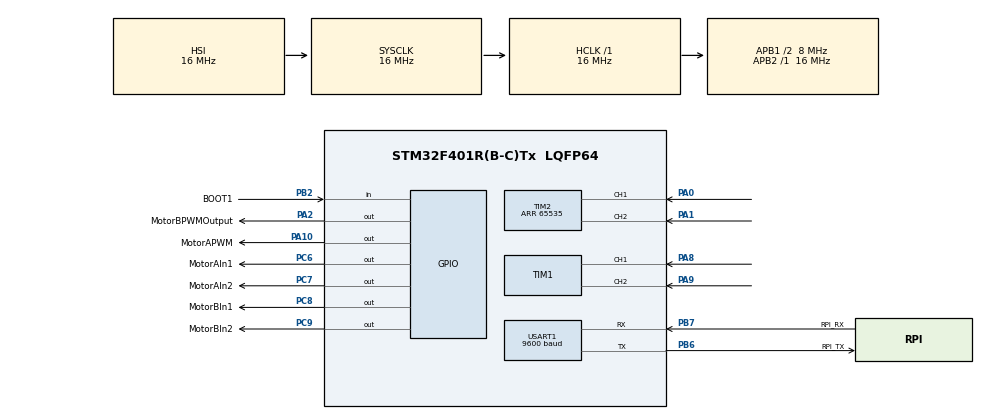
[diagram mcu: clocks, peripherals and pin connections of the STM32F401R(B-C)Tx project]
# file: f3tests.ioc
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Mcu.Family=STM32F4
Mcu.Name=STM32F401R(B-C)Tx
Mcu.Package=LQFP64
Mcu.UserConstants=ENCODER_MAX,65535/2;driverSpeed,100;SAMPLE_PERIOD,100000
NVIC.PriorityGroup=NVIC_PRIORITYGROUP_4
NVIC.TIM1_BRK_TIM9_IRQn=true\:0\:0\:false\:false\:true\:true\:true\:true
NVIC.TIM1_CC_IRQn=true\:0\:0\:false\:false\:true\:true\:true\:true
NVIC.TIM1_TRG_COM_TIM11_IRQn=true\:0\:0\:false\:false\:true\:true\:true\:true
NVIC.TIM1_UP_TIM10_IRQn=true\:0\:0\:false\:false\:true\:true\:true\:true
NVIC.TIM2_IRQn=true\:0\:0\:false\:false\:true\:true\:true\:true
NVIC.TIM3_IRQn=true\:0\:0\:false\:false\:true\:true\:true\:true
NVIC.TIM4_IRQn=true\:0\:0\:false\:false\:true\:true\:true\:true
NVIC.TIM5_IRQn=true\:0\:0\:false\:false\:true\:true\:true\:true
PA0-WKUP.GPIO_PuPd=GPIO_PULLUP
PA0-WKUP.Signal=S_TIM2_CH1_ETR
PA1.GPIO_PuPd=GPIO_PULLUP
PA1.Signal=S_TIM2_CH2
PA10.GPIO_Label=MotorAPWM
PA10.GPIO_PuPd=GPIO_PULLUP
PA10.Signal=GPIO_Output
PA13.Mode=Trace_Asynchronous_SW
PA13.Signal=SYS_JTMS-SWDIO
PA14.Mode=Trace_Asynchronous_SW
PA14.Signal=SYS_JTCK-SWCLK
PA2.GPIO_Label=MotorBPWMOutput
PA2.GPIO_ModeDefaultOutputPP=GPIO_MODE_OUTPUT_PP
PA2.GPIO_PuPd=GPIO_PULLUP
PA2.GPIO_Speed=GPIO_SPEED_FREQ_LOW
PA2.Signal=GPIO_Output
PA8.GPIO_PuPd=GPIO_PULLUP
PA8.Signal=S_TIM1_CH1
PA9.GPIO_PuPd=GPIO_PULLUP
PA9.Signal=S_TIM1_CH2
PB15.Signal=TIM1_CH3N
PB2.GPIO_Label=BOOT1
PB2.Signal=GPIO_Input
PB3.Mode=Trace_Asynchronous_SW
PB3.Signal=SYS_JTDO-SWO
PB6.GPIO_Label=RPI_TX
PB6.Mode=Asynchronous
PB6.Signal=USART1_TX
PB7.GPIO_Label=RPI_RX
PB7.Mode=Asynchronous
PB7.Signal=USART1_RX
PC6.GPIO_Label=MotorAIn1
PC6.Signal=GPIO_Output
PC7.GPIO_Label=MotorAIn2
PC7.Signal=GPIO_Output
PC8.GPIO_Label=MotorBIn1
PC8.Signal=GPIO_Output
PC9.GPIO_Label=MotorBIn2
PC9.Signal=GPIO_Output
PH0\ -\ OSC_IN.Mode=HSE-External-Oscillator
PH0\ -\ OSC_IN.Signal=RCC_OSC_IN
PH1\ -\ OSC_OUT.Mode=HSE-External-Oscillator
PH1\ -\ OSC_OUT.Signal=RCC_OSC_OUT
ProjectManager.HeapSize=0x200
ProjectManager.StackSize=0x400
ProjectManager.TargetToolchain=STM32CubeIDE
RCC.48MHZClocksFreq_Value=42000000
RCC.AHBFreq_Value=16000000
RCC.APB1CLKDivider=RCC_HCLK_DIV2
RCC.APB1Freq_Value=8000000
RCC.APB1TimFreq_Value=16000000
RCC.APB2Freq_Value=16000000
RCC.APB2TimFreq_Value=16000000
RCC.CortexFreq_Value=16000000
RCC.HCLKFreq_Value=16000000
RCC.HSE_VALUE=25000000
RCC.HSI_VALUE=16000000
RCC.LSE_VALUE=32768
RCC.PLLM=8
RCC.PLLN=84
RCC.SYSCLKFreq_VALUE=16000000
RCC.VCOOutputFreq_Value=168000000
SH.S_TIM1_CH1.0=TIM1_CH1,Encoder_Interface
SH.S_TIM1_CH2.0=TIM1_CH2,Encoder_Interface
SH.S_TIM2_CH1_ETR.0=TIM2_CH1,Encoder_Interface
SH.S_TIM2_CH2.0=TIM2_CH2,Encoder_Interface
TIM1.EncoderMode=TIM_ENCODERMODE_TI12
TIM1.IC1Filter=10
TIM1.IC2Filter=10
TIM2.EncoderMode=TIM_ENCODERMODE_TI12
TIM2.IC1Filter=10
TIM2.IC2Filter=10
TIM2.Period=65535
TIM3.Period=driverSpeed -1
TIM3.Prescaler=16-1
TIM4.Period=driverSpeed -1
TIM4.Prescaler=16-1
TIM5.Period=SAMPLE_PERIOD-1
TIM5.Prescaler=16-1
USART1.BaudRate=9600
USART1.VirtualMode=VM_ASYNC
VP_TIM3_VS_ClockSourceINT.Mode=Internal
VP_TIM4_VS_ClockSourceINT.Mode=Internal
VP_TIM5_VS_ClockSourceINT.Mode=Internal
board=custom

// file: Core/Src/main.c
/* USER CODE BEGIN Header */
/**
 ******************************************************************************
 * @file           : main.c
 * @brief          : Main program body
 ******************************************************************************
 * @attention
 *
 * Copyright (c) 2023 STMicroelectronics.
 * All rights reserved.
 *
 * This software is licensed under terms that can be found in the LICENSE file
 * in the root directory of this software component.
 * If no LICENSE file comes with this software, it is provided AS-IS.
 *
 ******************************************************************************
 */
/* USER CODE END Header */
#include "main.h"

/* USER CODE BEGIN Includes */
#include "motorDriver.h"
#include "virtualTimer.h"
#include "serial.h"
#include "test.h"
#include "encoder.h"
#include "math.h"
/* USER CODE END Includes */

/* USER CODE BEGIN PD */
#define baseDutyCycle  0.5
#define TESTING 1
#define ACTUAL_ROBOT 0
/* USER CODE END PD */

TIM_HandleTypeDef htim1;
TIM_HandleTypeDef htim2;
TIM_HandleTypeDef htim3;
TIM_HandleTypeDef htim4;
TIM_HandleTypeDef htim5;

UART_HandleTypeDef huart1;

/* USER CODE BEGIN PV */
VirtualTimer MotorATimer;
VirtualTimer MotorBTimer;
Encoder EncoderA;
Encoder EncoderB;
MotorDriver MD;
RPIClient pi;
int encoderValue;
int direction;
double EncoderA_Kp =0.01; //0.01; // 0.01 0.25
double EncoderA_Ki =1.5;//1.5
double EncoderA_Kd = 0.1; //0.1
int timeoutCounter = 0;
int ret = 0;
#define TIMEOUT_COUNTER_LIMIT (int)(1000.0 / UART_TIMEOUT)
/* USER CODE END PV */

void SystemClock_Config(void);
static void MX_GPIO_Init(void);
static void MX_USART1_UART_Init(void);
static void MX_TIM3_Init(void);
static void MX_TIM4_Init(void);
static void MX_TIM5_Init(void);
static void MX_TIM2_Init(void);
static void MX_TIM1_Init(void);

int main(void)
{

  /* MCU Configuration--------------------------------------------------------*/

  /* Reset of all peripherals, Initializes the Flash interface and the Systick. */
  HAL_Init();

  /* Configure the system clock */
  SystemClock_Config();

  /* Initialize all configured peripherals */
  MX_GPIO_Init();
  MX_USART1_UART_Init();
  MX_TIM3_Init();
  MX_TIM4_Init();
  MX_TIM5_Init();
  MX_TIM2_Init();
  MX_TIM1_Init();
  /* USER CODE BEGIN 2 */
//  HAL_TIM_Encoder_Start(&htim1, TIM_CHANNEL_ALL);
	  PIDPON_TypeDef POn = _PID_P_ON_E;
	  PIDCD_TypeDef ControllerDirection = _PID_CD_DIRECT;
	PID_TypeDef EncoderA_PID;
	double EncoderA_Out =0;
	double EncoderA_In =0;
	double EncoderA_SS=0;
	PID_Params EncoderA_PID_Params = {
    .uPID = &EncoderA_PID,
	  .Kp = EncoderA_Kp,
	  .Ki = EncoderA_Ki,
	  .Kd = EncoderA_Kd,
	  .POn = POn,
	  .ControllerDirection = ControllerDirection,
	  .Input = &EncoderA_In,
	  .Output = &EncoderA_Out,
	  .Setpoint = &EncoderA_SS
  };
	double EncoderB_Out =0;
	double EncoderB_In =0;
	double EncoderB_SS=0;
	PID_TypeDef EncoderB_PID;
	PID_Params EncoderB_PID_Params = {
    .uPID = &EncoderB_PID,
	  .Kp = EncoderA_Kp,
	  .Ki = EncoderA_Ki,
	  .Kd = EncoderA_Kd,
	  .POn = POn,
	  .ControllerDirection = ControllerDirection,
	  .Input = &EncoderB_In,
	  .Output = &EncoderB_Out,
	  .Setpoint = &EncoderB_SS
  };
	initEncoder(&EncoderA, &htim5, &htim2,EncoderA_PID_Params);
	initEncoder(&EncoderB, &htim5, &htim1, EncoderB_PID_Params);
	initVirtualTimer(&MotorATimer, driverSpeed, baseDutyCycle,
	MotorAPWM_GPIO_Port, MotorAPWM_Pin, &htim3);
	initVirtualTimer(&MotorBTimer, driverSpeed, baseDutyCycle,
	MotorBPWMOutput_GPIO_Port, MotorBPWMOutput_Pin, &htim4);
	__disable_irq();
	HAL_TIM_Encoder_Start_IT(EncoderA.encoderInputTimer, TIM_CHANNEL_ALL);
	HAL_TIM_Encoder_Start_IT(EncoderB.encoderInputTimer,TIM_CHANNEL_ALL);
	HAL_TIM_Base_Start_IT(EncoderB.INT_Timer);
	start_IT(&MotorATimer);
	start_IT(&MotorBTimer);
	__enable_irq();

	setOverallSpeed(&MD, 0);
	double xdist = 0;
	double ydist = 0;
	double xout = 0;
	double yout = 0;
	double steadyStateY = 90;
	double steadyStateX = 0;
	double V_l, V_r;
	PID_TypeDef xctrl;
	PID_TypeDef yctrl;
	MD.encA =&EncoderA;
	MD.encB =&EncoderB;
	MotorDriverInit(&MD, &xdist, &ydist, &xout, &yout, &steadyStateX,
			&steadyStateY, &xctrl, &yctrl, &MotorATimer, &MotorBTimer);

	fastStop(&MD);
	char buffer[RPI_BUFFER_SIZE];
	RPIPacket packet;
	UARTClient piUART;
	piUART.port = &huart1;
	RPIClientInit(&pi, buffer, &packet, &piUART);
	int PIDUpdateRet = 0;
//    TIM1->CCR1 = (int) (driverSpeed / dutyCycle);
//	TIM2->CCR1 = (int) (driverSpeed / dutyCycle);

  /* USER CODE END 2 */

  /* Infinite loop */
  /* USER CODE BEGIN WHILE */
//	while(1){};
	if (ACTUAL_ROBOT && TESTING) {
		HAL_Delay(10000);
	}
//	fastStop(&MD);
//	takeOff(&MD);
	if (TESTING) {
//		Echo_TEST(&pi);
//		TEST_BASIC_FOLLOW(&MD, &pi);
//		PRINT_TEST(&pi);
		//		Echo_TEST(&pi);
		//		Parser_TEST(&pi);
//		DATA_TEST(&pi);
//		setOverallSpeed(&MD, 75);
//		Acceleration_TEST(&MD);
//		setOverallSpeed(&MD,50);
		*MD.encA->desiredSpeed =50;
		*MD.encB->desiredSpeed =50;
		goForward(&MD);
//		while(1){};
		while(1){
//			*MD.enc->desiredSpeed =100;
			setOverallSpeed(&MD, 50);
//			gradualSetIndividualSpeedRPM(MD.vtA, *MD.encA->motorSpeed);
//			gradualSetIndividualSpeedRPM(MD.vtB, *MD.encB->motorSpeed);

		}

	}

	double x = 0;
	double y = 0;

	Velocity v;
	int FIRST_MEAS = 0;

	while (1) {
    /* USER CODE END WHILE */

    /* USER CODE BEGIN 3 */
//		encoderValue =  __HAL_TIM_GET_COUNTER(&htim2) >>1;
		// MAIN CODE
//		__disable_irq();
		ret = recieveData(&pi);
//		__enable_irq();
		switch (ret) {
		case HAL_ERROR:
			fastStop(&MD);
			continue;
			break;
		case HAL_TIMEOUT:
			if(!FIRST_MEAS){
				continue;
			}
			UARTPrintf(pi.uart, "ACK: MCU: Are you alive? \n\r");
//			if(FIRST_MEAS){
//				*MD.encA->desiredSpeed -= *MD.encA->desiredSpeed ==0? 0: 10;
//				*MD.encB->desiredSpeed -=*MD.encB->desiredSpeed ==0? 0: 10;
//				gradualSetIndividualSpeedRPM(MD.vtA, *MD.encA->motorSpeed);
//				gradualSetIndividualSpeedRPM(MD.vtB, *MD.encB->motorSpeed);
//			}
			if(timeoutCounter > TIMEOUT_COUNTER_LIMIT){
				fastStop(&MD);
//				timeoutCounter=0;
			}
			timeoutCounter++;
			HAL_Delay(100*timeoutCounter);
			continue;
			break;
		case HAL_OK:
			FIRST_MEAS = 1;
			break;
		}
		goForward(&MD);
//		__disable_irq();
		timeoutCounter=0;
//		xdist = pi.mostRecentPacket->xdistance;
		xdist =0;
		ydist = pi.mostRecentPacket->ydistance;
		if(ydist <70 || ydist>110){
			__enable_irq();
			UARTPrintf(pi.uart, "ACK: PID too close \n\r");

			continue;
		}
		PIDUpdateRet = motorDriverUpdate(&MD);
		if(!PIDUpdateRet){
			__enable_irq();
			UARTPrintf(pi.uart, "ACK: PID error \n\r");
			continue;
		}
//		V_l = *MD.ycontOut / (1 + *MD.xcontOut);
//		V_r =  *MD.xcontOut * V_l;
		__disable_irq();
		x = 0;//*MD.xcontOut;
		y = *MD.ycontOut *-1;
		v = calculateMotorVelocities(x, y);

//		if(y>0){
//			goBackwards(&MD);
//		}else{
//			goForward(&MD);
//		}
		*MD.encA->desiredSpeed =v.V_left; //< 0? -v.V_left : v.V_left ;
		*MD.encB->desiredSpeed =v.V_right; //<0? -v.V_right: v.V_right;

		gradualSetIndividualSpeedRPM(MD.vtA, *MD.encA->motorSpeed);
		gradualSetIndividualSpeedRPM(MD.vtB, *MD.encB->motorSpeed);
		__enable_irq();
		UARTPrintf(pi.uart, "DATA:%d (%d,%d,%d,%d) \n\r",
				PIDUpdateRet,
				(int) (*MD.xcontOut),
				(int) (*MD.ycontOut),
				(int)(*MD.encA->realSpeed),
				(int)(*MD.encB->realSpeed)
				);
//		direction =__HAL_TIM_IS_TIM_COUNTING_DOWN(EncoderA.encoderInputTimer);
		//...
//		HAL_Delay(25); //every 0.05 seconds 1 frame

	}
  /* USER CODE END 3 */
}

void SystemClock_Config(void)
{
  RCC_OscInitTypeDef RCC_OscInitStruct = {0};
  RCC_ClkInitTypeDef RCC_ClkInitStruct = {0};

  /** Configure the main internal regulator output voltage
  */
  __HAL_RCC_PWR_CLK_ENABLE();
  __HAL_PWR_VOLTAGESCALING_CONFIG(PWR_REGULATOR_VOLTAGE_SCALE2);

  /** Initializes the RCC Oscillators according to the specified parameters
  * in the RCC_OscInitTypeDef structure.
  */
  RCC_OscInitStruct.OscillatorType = RCC_OSCILLATORTYPE_HSI;
  RCC_OscInitStruct.HSIState = RCC_HSI_ON;
  RCC_OscInitStruct.HSICalibrationValue = RCC_HSICALIBRATION_DEFAULT;
  RCC_OscInitStruct.PLL.PLLState = RCC_PLL_NONE;
  if (HAL_RCC_OscConfig(&RCC_OscInitStruct) != HAL_OK)
  {
    Error_Handler();
  }

  /** Initializes the CPU, AHB and APB buses clocks
  */
  RCC_ClkInitStruct.ClockType = RCC_CLOCKTYPE_HCLK|RCC_CLOCKTYPE_SYSCLK
                              |RCC_CLOCKTYPE_PCLK1|RCC_CLOCKTYPE_PCLK2;
  RCC_ClkInitStruct.SYSCLKSource = RCC_SYSCLKSOURCE_HSI;
  RCC_ClkInitStruct.AHBCLKDivider = RCC_SYSCLK_DIV1;
  RCC_ClkInitStruct.APB1CLKDivider = RCC_HCLK_DIV2;
  RCC_ClkInitStruct.APB2CLKDivider = RCC_HCLK_DIV1;

  if (HAL_RCC_ClockConfig(&RCC_ClkInitStruct, FLASH_LATENCY_0) != HAL_OK)
  {
    Error_Handler();
  }
}

static void MX_TIM1_Init(void)
{

  TIM_Encoder_InitTypeDef sConfig = {0};
  TIM_MasterConfigTypeDef sMasterConfig = {0};

  htim1.Instance = TIM1;
  htim1.Init.Prescaler = 0;
  htim1.Init.CounterMode = TIM_COUNTERMODE_UP;
  htim1.Init.Period = 65535;
  htim1.Init.ClockDivision = TIM_CLOCKDIVISION_DIV1;
  htim1.Init.RepetitionCounter = 0;
  htim1.Init.AutoReloadPreload = TIM_AUTORELOAD_PRELOAD_DISABLE;
  sConfig.EncoderMode = TIM_ENCODERMODE_TI12;
  sConfig.IC1Polarity = TIM_ICPOLARITY_RISING;
  sConfig.IC1Selection = TIM_ICSELECTION_DIRECTTI;
  sConfig.IC1Prescaler = TIM_ICPSC_DIV1;
  sConfig.IC1Filter = 10;
  sConfig.IC2Polarity = TIM_ICPOLARITY_RISING;
  sConfig.IC2Selection = TIM_ICSELECTION_DIRECTTI;
  sConfig.IC2Prescaler = TIM_ICPSC_DIV1;
  sConfig.IC2Filter = 10;
  if (HAL_TIM_Encoder_Init(&htim1, &sConfig) != HAL_OK)
  {
    Error_Handler();
  }
  sMasterConfig.MasterOutputTrigger = TIM_TRGO_RESET;
  sMasterConfig.MasterSlaveMode = TIM_MASTERSLAVEMODE_DISABLE;
  if (HAL_TIMEx_MasterConfigSynchronization(&htim1, &sMasterConfig) != HAL_OK)
  {
    Error_Handler();
  }

}

static void MX_TIM2_Init(void)
{

  TIM_Encoder_InitTypeDef sConfig = {0};
  TIM_MasterConfigTypeDef sMasterConfig = {0};

  htim2.Instance = TIM2;
  htim2.Init.Prescaler = 0;
  htim2.Init.CounterMode = TIM_COUNTERMODE_UP;
  htim2.Init.Period = 65535;
  htim2.Init.ClockDivision = TIM_CLOCKDIVISION_DIV1;
  htim2.Init.AutoReloadPreload = TIM_AUTORELOAD_PRELOAD_DISABLE;
  sConfig.EncoderMode = TIM_ENCODERMODE_TI12;
  sConfig.IC1Polarity = TIM_ICPOLARITY_RISING;
  sConfig.IC1Selection = TIM_ICSELECTION_DIRECTTI;
  sConfig.IC1Prescaler = TIM_ICPSC_DIV1;
  sConfig.IC1Filter = 10;
  sConfig.IC2Polarity = TIM_ICPOLARITY_RISING;
  sConfig.IC2Selection = TIM_ICSELECTION_DIRECTTI;
  sConfig.IC2Prescaler = TIM_ICPSC_DIV1;
  sConfig.IC2Filter = 10;
  if (HAL_TIM_Encoder_Init(&htim2, &sConfig) != HAL_OK)
  {
    Error_Handler();
  }
  sMasterConfig.MasterOutputTrigger = TIM_TRGO_RESET;
  sMasterConfig.MasterSlaveMode = TIM_MASTERSLAVEMODE_DISABLE;
  if (HAL_TIMEx_MasterConfigSynchronization(&htim2, &sMasterConfig) != HAL_OK)
  {
    Error_Handler();
  }

}

static void MX_TIM3_Init(void)
{

  TIM_ClockConfigTypeDef sClockSourceConfig = {0};
  TIM_MasterConfigTypeDef sMasterConfig = {0};

  htim3.Instance = TIM3;
  htim3.Init.Prescaler = 16-1;
  htim3.Init.CounterMode = TIM_COUNTERMODE_UP;
  htim3.Init.Period = driverSpeed -1;
  htim3.Init.ClockDivision = TIM_CLOCKDIVISION_DIV1;
  htim3.Init.AutoReloadPreload = TIM_AUTORELOAD_PRELOAD_DISABLE;
  if (HAL_TIM_Base_Init(&htim3) != HAL_OK)
  {
    Error_Handler();
  }
  sClockSourceConfig.ClockSource = TIM_CLOCKSOURCE_INTERNAL;
  if (HAL_TIM_ConfigClockSource(&htim3, &sClockSourceConfig) != HAL_OK)
  {
    Error_Handler();
  }
  sMasterConfig.MasterOutputTrigger = TIM_TRGO_RESET;
  sMasterConfig.MasterSlaveMode = TIM_MASTERSLAVEMODE_DISABLE;
  if (HAL_TIMEx_MasterConfigSynchronization(&htim3, &sMasterConfig) != HAL_OK)
  {
    Error_Handler();
  }

}

static void MX_TIM4_Init(void)
{

  TIM_ClockConfigTypeDef sClockSourceConfig = {0};
  TIM_MasterConfigTypeDef sMasterConfig = {0};

  htim4.Instance = TIM4;
  htim4.Init.Prescaler = 16-1;
  htim4.Init.CounterMode = TIM_COUNTERMODE_UP;
  htim4.Init.Period = driverSpeed -1;
  htim4.Init.ClockDivision = TIM_CLOCKDIVISION_DIV1;
  htim4.Init.AutoReloadPreload = TIM_AUTORELOAD_PRELOAD_DISABLE;
  if (HAL_TIM_Base_Init(&htim4) != HAL_OK)
  {
    Error_Handler();
  }
  sClockSourceConfig.ClockSource = TIM_CLOCKSOURCE_INTERNAL;
  if (HAL_TIM_ConfigClockSource(&htim4, &sClockSourceConfig) != HAL_OK)
  {
    Error_Handler();
  }
  sMasterConfig.MasterOutputTrigger = TIM_TRGO_RESET;
  sMasterConfig.MasterSlaveMode = TIM_MASTERSLAVEMODE_DISABLE;
  if (HAL_TIMEx_MasterConfigSynchronization(&htim4, &sMasterConfig) != HAL_OK)
  {
    Error_Handler();
  }

}

static void MX_TIM5_Init(void)
{

  TIM_ClockConfigTypeDef sClockSourceConfig = {0};
  TIM_MasterConfigTypeDef sMasterConfig = {0};

  htim5.Instance = TIM5;
  htim5.Init.Prescaler = 16-1;
  htim5.Init.CounterMode = TIM_COUNTERMODE_UP;
  htim5.Init.Period = SAMPLE_PERIOD-1;
  htim5.Init.ClockDivision = TIM_CLOCKDIVISION_DIV1;
  htim5.Init.AutoReloadPreload = TIM_AUTORELOAD_PRELOAD_DISABLE;
  if (HAL_TIM_Base_Init(&htim5) != HAL_OK)
  {
    Error_Handler();
  }
  sClockSourceConfig.ClockSource = TIM_CLOCKSOURCE_INTERNAL;
  if (HAL_TIM_ConfigClockSource(&htim5, &sClockSourceConfig) != HAL_OK)
  {
    Error_Handler();
  }
  sMasterConfig.MasterOutputTrigger = TIM_TRGO_RESET;
  sMasterConfig.MasterSlaveMode = TIM_MASTERSLAVEMODE_DISABLE;
  if (HAL_TIMEx_MasterConfigSynchronization(&htim5, &sMasterConfig) != HAL_OK)
  {
    Error_Handler();
  }

}

static void MX_USART1_UART_Init(void)
{

  huart1.Instance = USART1;
  huart1.Init.BaudRate = 9600;
  huart1.Init.WordLength = UART_WORDLENGTH_8B;
  huart1.Init.StopBits = UART_STOPBITS_1;
  huart1.Init.Parity = UART_PARITY_NONE;
  huart1.Init.Mode = UART_MODE_TX_RX;
  huart1.Init.HwFlowCtl = UART_HWCONTROL_NONE;
  huart1.Init.OverSampling = UART_OVERSAMPLING_16;
  if (HAL_UART_Init(&huart1) != HAL_OK)
  {
    Error_Handler();
  }

}

static void MX_GPIO_Init(void)
{
  GPIO_InitTypeDef GPIO_InitStruct = {0};

  /* GPIO Ports Clock Enable */
  __HAL_RCC_GPIOH_CLK_ENABLE();
  __HAL_RCC_GPIOA_CLK_ENABLE();
  __HAL_RCC_GPIOB_CLK_ENABLE();
  __HAL_RCC_GPIOC_CLK_ENABLE();

  /*Configure GPIO pin Output Level */
  HAL_GPIO_WritePin(GPIOA, MotorBPWMOutput_Pin|MotorAPWM_Pin, GPIO_PIN_RESET);

  /*Configure GPIO pin Output Level */
  HAL_GPIO_WritePin(GPIOC, MotorAIn1_Pin|MotorAIn2_Pin|MotorBIn1_Pin|MotorBIn2_Pin, GPIO_PIN_RESET);

  /*Configure GPIO pins : MotorBPWMOutput_Pin MotorAPWM_Pin */
  GPIO_InitStruct.Pin = MotorBPWMOutput_Pin|MotorAPWM_Pin;
  GPIO_InitStruct.Mode = GPIO_MODE_OUTPUT_PP;
  GPIO_InitStruct.Pull = GPIO_PULLUP;
  GPIO_InitStruct.Speed = GPIO_SPEED_FREQ_LOW;
  HAL_GPIO_Init(GPIOA, &GPIO_InitStruct);

  /*Configure GPIO pin : BOOT1_Pin */
  GPIO_InitStruct.Pin = BOOT1_Pin;
  GPIO_InitStruct.Mode = GPIO_MODE_INPUT;
  GPIO_InitStruct.Pull = GPIO_NOPULL;
  HAL_GPIO_Init(BOOT1_GPIO_Port, &GPIO_InitStruct);

  /*Configure GPIO pins : MotorAIn1_Pin MotorAIn2_Pin MotorBIn1_Pin MotorBIn2_Pin */
  GPIO_InitStruct.Pin = MotorAIn1_Pin|MotorAIn2_Pin|MotorBIn1_Pin|MotorBIn2_Pin;
  GPIO_InitStruct.Mode = GPIO_MODE_OUTPUT_PP;
  GPIO_InitStruct.Pull = GPIO_NOPULL;
  GPIO_InitStruct.Speed = GPIO_SPEED_FREQ_LOW;
  HAL_GPIO_Init(GPIOC, &GPIO_InitStruct);

}

/* USER CODE BEGIN 4 */
//void HAL_TIM_IC_CaptureCallback(TIM_HandleTypeDef *htim){
//	Encoder_IT_Handler(&EncoderA);
//}
//void HAL_GPIO_EXTI_Callback(uint16_t GPIO_Pin)
//{
//    if(GPIO_Pin == EncoderA_Pin) // If The INT Source Is EXTI Line9 (A9 Pin)
//    {
//    	int val = HAL_GPIO_ReadPin(EncoderB_GPIO_Port,EncoderB_Pin);
//    	if(val == GPIO_PIN_SET){
//    		encoderValue++;
//    	}else{
//    		encoderValue--;
//    	}
//    }
//}
// Callback: timer has rolled over
void HAL_TIM_PeriodElapsedCallback(TIM_HandleTypeDef *htim) {
	// Check which version of the timer triggered this callback and toggle LED
	if (htim == MotorATimer.htim) {
//		HAL_GPIO_TogglePin(MotorBPWMOutput_GPIO_Port,  MotorBPWMOutput_Pin);
//		HAL_GPIO_WritePin(MotorBPWMOutput_GPIO_Port, MotorBPWMOutput_Pin, GPIO_PIN_SET);
		VirtualPWM_IT_Handler(&MotorATimer);

	}
	if (htim == MotorBTimer.htim) {
//	HAL_GPIO_TogglePin(MotorAPWM_GPIO_Port,  MotorAPWM_Pin);
//		HAL_GPIO_WritePin(MotorAPWM_GPIO_Port,MotorAPWM_Pin, GPIO_PIN_SET);
		VirtualPWM_IT_Handler(&MotorBTimer);
	}

	if (htim == EncoderA.INT_Timer) {
		Encoder_IT_Handler(&EncoderA);
	}
	if(htim==EncoderB.INT_Timer){
		Encoder_IT_Handler(&EncoderB);
	}

}

/* USER CODE END 4 */

void Error_Handler(void)
{
	__disable_irq();
	while (1) {
	}
}
